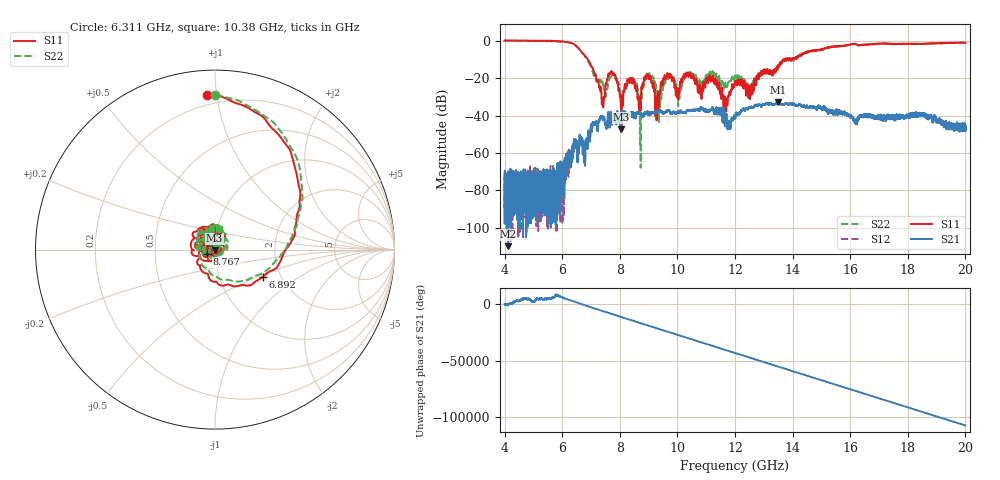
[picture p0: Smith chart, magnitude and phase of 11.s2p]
[Version] 2.0
! Rohde & Schwarz Vector Network Analyzer
! Rohde-Schwarz,ZNL20-2Port,1323001220200009,1.71.1.10-23.02.1.238
! Port Assignments:
! Nominal Port -> Actual Test Port
!  1 -> 1
!  2 -> 2
! Created: GMT+2 2025-01-17 12:10:11
# Hz S RI R 50
[Number of Ports] 2
[Two-Port Data Order] 21_12
! freq[Hz]  S11[Re]  S11[Im]  S21[Re]  S21[Im]  S12[Re]  S12[Im]  S22[Re]  S22[Im]
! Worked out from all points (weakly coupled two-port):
!   16001 points, 4 GHz to 20 GHz, reference 50 ohm
!   highest |S21| = -32.96 dB at 13.48 GHz (marker M1); lowest = -109.8 dB at 4.12 GHz (marker M2)
!   lowest |S11| = -47.3 dB at 8.057 GHz (marker M3), VSWR 1.01, Z = 49.7 - j0.341 ohm
!   |S11| at or under -10 dB: 6.882 GHz to 13.7 GHz (6.818 GHz wide, 66.3 % of centre); 13.71204 GHz to 13.74172 GHz (29.68 MHz wide, 0.216 % of centre); 13.94227 GHz to 13.96572 GHz (23.45 MHz wide, 0.168 % of centre) (the widest 3 of 9)
!   |S22| runs from -67.9 to -0.1 dB; largest |S21 - S12| = 0.0026
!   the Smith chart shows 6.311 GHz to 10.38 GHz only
!   S11 on the Smith chart (normalised r, x): 6.311 GHz: 0.14, +0.94; 6.892 GHz: 1.62, -0.54; 8.767 GHz: 0.91, -0.04; 10.38 GHz: 1.01, +0.22
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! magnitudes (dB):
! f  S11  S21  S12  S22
! 4 GHz  0.0  -73.1  -87.1  -0.2
! 4.12 GHz  0.0  -109.8  -79.5  -0.2
! 5.699 GHz  -0.1  -86.7  -74.0  -0.3
! 6.311 GHz  -1.3  -60.7  -61.8  -1.3
! 6.667 GHz  -6.0  -53.3  -52.4  -6.1
! 6.892 GHz  -10.3  -54.2  -52.3  -10.7
! 7.403 GHz  -30.9  -40.7  -40.6  -22.4
! 7.722 GHz  -16.8  -42.0  -41.8  -18.8
! 8.057 GHz  -47.3  -37.6  -37.6  -31.3
! 8.425 GHz  -22.6  -40.5  -40.2  -21.6
! 8.767 GHz  -25.8  -39.3  -39.4  -31.4
! 9.002 GHz  -20.3  -38.3  -38.5  -18.7
! 9.334 GHz  -27.9  -37.9  -37.7  -30.9
! 9.586 GHz  -20.5  -38.2  -38.0  -21.6
! 10.05 GHz  -25.8  -38.2  -38.2  -28.1
! 10.38 GHz  -19.2  -37.3  -37.4  -18.6
! 11.67 GHz  -30.3  -42.4  -42.0  -22.9
! 12 GHz  -21.5  -41.2  -41.5  -19.0
! 13.48 GHz  -13.2  -33.0  -33.1  -14.6
! 14.67 GHz  -5.4  -35.3  -35.3  -5.9
! 17.33 GHz  -1.8  -41.1  -40.7  -1.8
! 20 GHz  -1.2  -47.5  -45.7  -1.2
